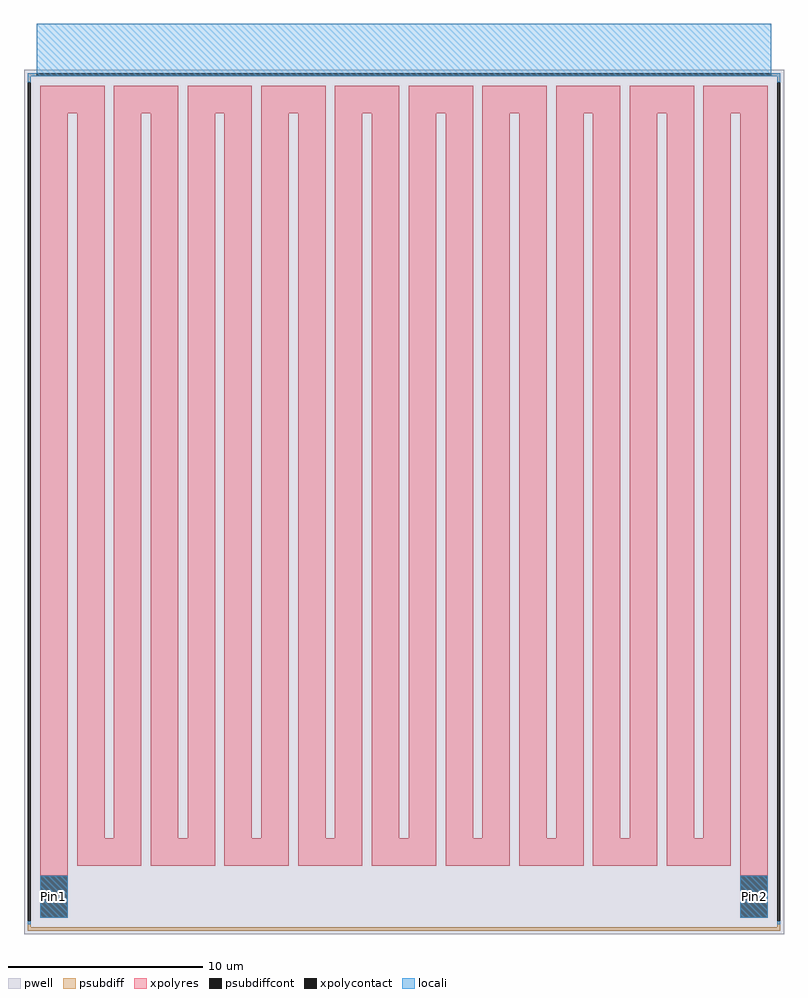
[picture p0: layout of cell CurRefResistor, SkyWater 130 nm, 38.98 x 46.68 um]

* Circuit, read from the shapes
.subckt CurRefResistor Pin1 Pin2
XR1 Pin1 Pin2 VSUBS sky130_fd_pr__res_xhigh_po w=1.41 l=810.16
.ends

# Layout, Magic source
magic
tech sky130A
magscale 1 2
<< locali >>
rect 2719 31083 10250 31620
rect 2753 22451 3035 22883
rect 9935 22451 10217 22883
use sky130_fd_pr__res_xhigh_po_1p41_3ZBBQK  sky130_fd_pr__res_xhigh_po_1p41_3ZBBQK_0
transform 1 0 6485 0 1 26719
box -3898 -4434 3898 4434
<< labels >>
rlabel locali 2753 22451 3035 22883 5 Pin1
port 0 s
rlabel locali 9935 22451 10217 22883 5 Pin2
port 2 s
<< end >>

# cell sky130_fd_pr__res_xhigh_po_1p41_3ZBBQK: kit device sky130_fd_pr__res_xhigh_po_1p41, w 1.41 l 40.0 m 1 nx 20 wmin 1.410 lmin 0.50 rho 2000 val 1.173meg dummy 0 dw 0.0 term 188.2 sterm 0.0 caplen 0 wmax 1.410 guard 1 glc 1 grc 1 gtc 1 gbc 0 compatible {sky130_fd_pr__res_xhigh_po_0p35 sky130_fd_pr__res_xhigh_po_0p69 sky130_fd_pr__res_xhigh_po_1p41 sky130_fd_pr__res_xhigh_po_2p85 sky130_fd_pr__res_xhigh_po_5p73} snake 1 full_metal 1 n_guard 0 hv_guard 0 vias 1 viagb 0 viagt 0 viagl 0 viagr 0
